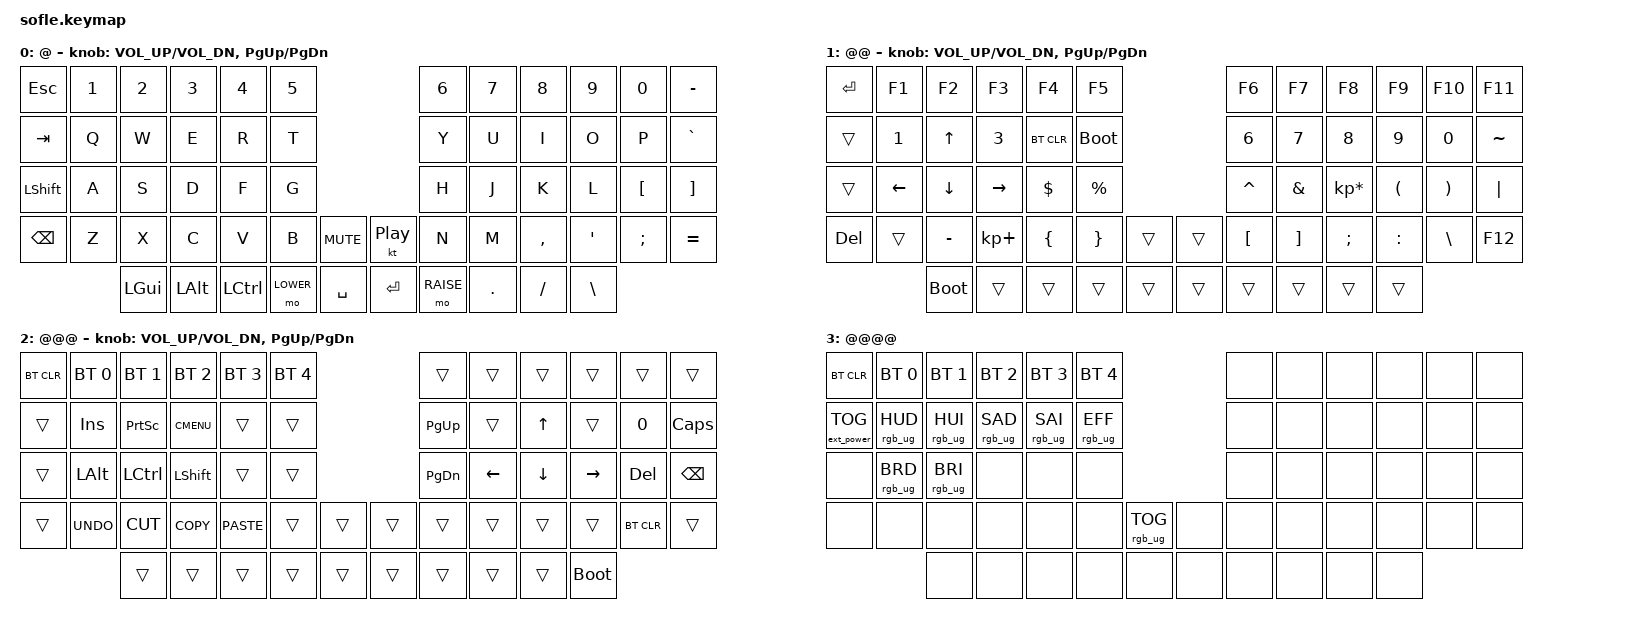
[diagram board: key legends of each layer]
/*
 * Copyright (c) 2020 The ZMK Contributors
 *
 * SPDX-License-Identifier: MIT
 */

#include <behaviors.dtsi>
#include <dt-bindings/zmk/bt.h>
#include <dt-bindings/zmk/ext_power.h>
#include <dt-bindings/zmk/keys.h>
#include <dt-bindings/zmk/rgb.h>

#define BASE 0
#define LOWER 1
#define RAISE 2
#define ADJUST 3

/ {
    // Activate ADJUST layer by pressing raise and lower

    conditional_layers {
        compatible = "zmk,conditional-layers";

        adjust_layer {
            if-layers = <LOWER RAISE>;
            then-layer = <ADJUST>;
        };
    };

    keymap {
        compatible = "zmk,keymap";

        default_layer {
            label = "@";

            // ------------------------------------------------------------------------------------------------------------
            // |   `   |  1  |  2  |  3   |  4   |  5   |                   |  6   |  7    |  8    |  9   |   0   |       |
            // |  ESC  |  Q  |  W  |  E   |  R   |  T   |                   |  Y   |  U    |  I    |  O   |   P   | BKSPC |
            // |  TAB  |  A  |  S  |  D   |  F   |  G   |                   |  H   |  J    |  K    |  L   |   ;   |   '   |
            // | SHIFT |  Z  |  X  |  C   |  V   |  B   |  MUTE  |  |       |  N   |  M    |  ,    |  .   |   /   | SHIFT |
            //               | GUI | ALT  | CTRL | LOWER|  ENTER |  | SPACE | RAISE| CTRL  | ALT   | GUI  |

            bindings = <
&kp ESC        &kp N1  &kp N2    &kp N3    &kp N4     &kp N5                                     &kp N6     &kp N7      &kp N8     &kp N9    &kp N0    &kp MINUS
&kp TAB        &kp Q   &kp W     &kp E     &kp R      &kp T                                      &kp Y      &kp U       &kp I      &kp O     &kp P     &kp GRAVE
&kp LSHIFT     &kp A   &kp S     &kp D     &kp F      &kp G                                      &kp H      &kp J       &kp K      &kp L     &kp LBKT  &kp RBKT
&kp BACKSPACE  &kp Z   &kp X     &kp C     &kp V      &kp B      &kp C_MUTE    &kt C_PLAY_PAUSE  &kp N      &kp M       &kp COMMA  &kp APOS  &kp SEMI  &kp EQUAL
                       &kp LGUI  &kp LALT  &kp LCTRL  &mo LOWER  &kp SPACE     &kp ENTER         &mo RAISE  &kp PERIOD  &kp FSLH   &kp BSLH
            >;

            sensor-bindings =
                <&inc_dec_kp C_VOL_UP C_VOL_DN>,
                <&inc_dec_kp PG_UP PG_DN>;
        };

        lower_layer {
            label = "@@";

            // TODO: Some binds are waiting for shifted keycode support.
            // ------------------------------------------------------------------------------------------------------------
            // |       |  F1 |  F2 |  F3  |  F4  |  F5  |                   |  F6  |  F7   |  F8   |  F9  |  F10  |  F11  |
            // |   `   |  1  |  2  |  3   |  4   |  5   |                   |  6   |  7    |  8    |  9   |   0   |  F12  |
            // |       |  !  |  @  |  #   |  $   |  %   |                   |  ^   |  &    |  *    |  (   |   )   |   |   |
            // |       |  =  |  -  |  +   |  {   |  }   |        |  |       |  [   |  ]    |  ;    |  :   |   \   |       |
            //               |     |      |      |      |        |  |       |      |       |       |      |

            bindings = <
&kp ENTER   &kp F1          &kp F2          &kp F3           &kp F4      &kp F5                         &kp F6     &kp F7    &kp F8           &kp F9     &kp F10   &kp F11
&trans      &kp N1          &kp UP_ARROW    &kp N3           &bt BT_CLR  &bootloader                    &kp N6     &kp N7    &kp N8           &kp N9     &kp N0    &kp TILDE
&trans      &kp LEFT_ARROW  &kp DOWN_ARROW  &kp RIGHT_ARROW  &kp DLLR    &kp PRCNT                      &kp CARET  &kp AMPS  &kp KP_MULTIPLY  &kp LPAR   &kp RPAR  &kp PIPE
&kp DELETE  &trans          &kp MINUS       &kp KP_PLUS      &kp LBRC    &kp RBRC     &trans    &trans  &kp LBKT   &kp RBKT  &kp SEMI         &kp COLON  &kp BSLH  &kp F12
                            &bootloader     &trans           &trans      &trans       &trans    &trans  &trans     &trans    &trans           &trans
            >;

            sensor-bindings = <&inc_dec_kp C_VOL_UP C_VOL_DN &inc_dec_kp PG_UP PG_DN>;
        };

        raise_layer {
            label = "@@@";

            // ------------------------------------------------------------------------------------------------------------
            // | BTCLR | BT1  | BT2  |  BT3  |  BT4  |  BT5 |                |      |      |       |      |       |       |
            // |       | INS  | PSCR | GUI   |       |      |                | PGUP |      |   ^   |      |       |       |
            // |       | ALT  | CTRL | SHIFT |       | CAPS |                | PGDN |   <- |   v   |  ->  |  DEL  | BKSPC |
            // |       | UNDO | CUT  | COPY  | PASTE |      |      |  |      |      |      |       |      |       |       |
            //                |      |       |       |      |      |  |      |      |      |       |      |

            bindings = <
&bt BT_CLR  &bt BT_SEL 0  &bt BT_SEL 1  &bt BT_SEL 2  &bt BT_SEL 3  &bt BT_SEL 4                    &trans     &trans    &trans    &trans       &trans      &trans
&trans      &kp INS       &kp PSCRN     &kp K_CMENU   &trans        &trans                          &kp PG_UP  &trans    &kp UP    &trans       &kp N0      &kp CAPS
&trans      &kp LALT      &kp LCTRL     &kp LSHFT     &trans        &trans                          &kp PG_DN  &kp LEFT  &kp DOWN  &kp RIGHT    &kp DEL     &kp BSPC
&trans      &kp K_UNDO    &kp K_CUT     &kp K_COPY    &kp K_PASTE   &trans        &trans    &trans  &trans     &trans    &trans    &trans       &bt BT_CLR  &trans
                          &trans        &trans        &trans        &trans        &trans    &trans  &trans     &trans    &trans    &bootloader
            >;

            sensor-bindings = <&inc_dec_kp C_VOL_UP C_VOL_DN &inc_dec_kp PG_UP PG_DN>;
        };

        adjust_layer {
            // ----------------------------------------------------------------------------------------------------------------------------
            // | BTCLR  |  BT1    |  BT2    |   BT3   |   BT4   |   BT5   |                  |      |      |       |      |       |       |
            // | EXTPWR | RGB_HUD | RGB_HUI | RGB_SAD | RGB_SAI | RGB_EFF |                  |      |      |       |      |       |       |
            // |        | RGB_BRD | RGB_BRI |         |         |         |                  |      |      |       |      |       |       |
            // |        |         |         |         |         |         | RGB_TOG | |      |      |      |       |      |       |       |
            //                    |         |         |         |         |         | |      |      |      |       |      |

            label = "@@@@";
            bindings = <
&bt BT_CLR         &bt BT_SEL 0     &bt BT_SEL 1     &bt BT_SEL 2     &bt BT_SEL 3     &bt BT_SEL 4                               &none  &none  &none  &none  &none  &none
&ext_power EP_TOG  &rgb_ug RGB_HUD  &rgb_ug RGB_HUI  &rgb_ug RGB_SAD  &rgb_ug RGB_SAI  &rgb_ug RGB_EFF                            &none  &none  &none  &none  &none  &none
&none              &rgb_ug RGB_BRD  &rgb_ug RGB_BRI  &none            &none            &none                                      &none  &none  &none  &none  &none  &none
&none              &none            &none            &none            &none            &none            &rgb_ug RGB_TOG    &none  &none  &none  &none  &none  &none  &none
                                    &none            &none            &none            &none            &none              &none  &none  &none  &none  &none
            >;
        };
    };
};
